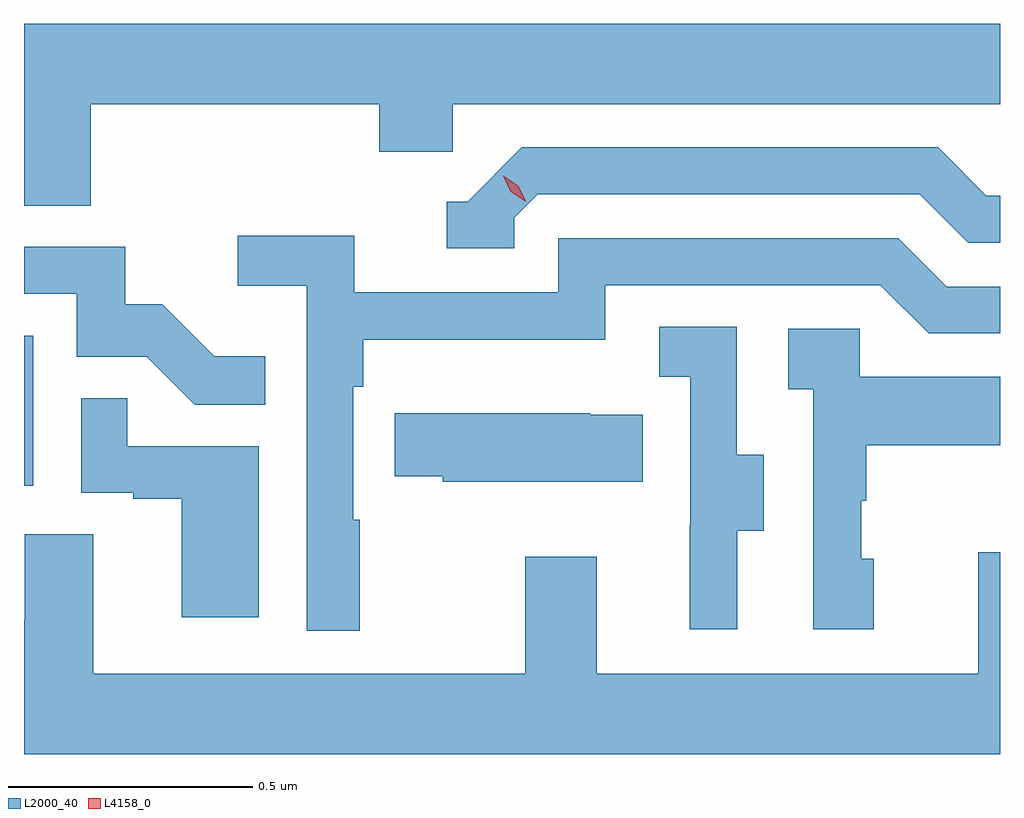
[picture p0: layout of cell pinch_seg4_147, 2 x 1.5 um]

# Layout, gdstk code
import gdstk
lib = gdstk.Library(unit=1e-6, precision=1e-09)
def R(c, l, rs):  # rectangles x0, y0, x1, y1
    for r in rs: c.add(gdstk.rectangle(r[:2], r[2:], *l))
def P(c, l, *ps):  # polygons
    for p in ps: c.add(gdstk.Polygon(p, *l))
L2000_40 = (2000, 40)
L4158_0 = (4158, 0)

pinch_seg4_147 = lib.new_cell('pinch_seg4_147')
R(pinch_seg4_147, L2000_40, [(1112.739,809.358,1112.758,809.665)])
P(pinch_seg4_147, L2000_40, [(1112.876,810.14),(1113.467,810.14),(1113.467,810.042),(1113.618,810.042),(1113.618,810.14),(1114.739,810.14),(1114.739,810.304),(1112.739,810.304),(1112.739,809.932),(1112.876,809.932)],
  [(1113.744,809.907),(1113.792,809.955),(1114.575,809.955),(1114.674,809.856),(1114.739,809.856),(1114.739,809.952),(1114.711,809.952),(1114.612,810.051),(1113.759,810.051),(1113.648,809.94),(1113.605,809.94),(1113.605,809.844),(1113.744,809.844)],
  [(1113.427,809.288),(1113.414,809.288),(1113.414,809.561),(1113.434,809.561),(1113.434,809.657),(1113.93,809.657),(1113.93,809.769),(1114.494,809.769),(1114.593,809.67),(1114.739,809.67),(1114.739,809.766),(1114.63,809.766),(1114.531,809.865),(1113.834,809.865),(1113.834,809.754),(1113.416,809.754),(1113.416,809.87),(1113.177,809.87),(1113.177,809.768),(1113.318,809.768),(1113.318,809.061),(1113.427,809.061)],
  [(1113.233,809.623),(1113.129,809.623),(1113.022,809.73),(1112.946,809.73),(1112.946,809.847),(1112.739,809.847),(1112.739,809.751),(1112.847,809.751),(1112.847,809.622),(1112.991,809.622),(1113.089,809.524),(1113.233,809.524)],
  [(1114.201,809.266),(1114.255,809.266),(1114.255,809.421),(1114.2,809.421),(1114.2,809.684),(1114.041,809.684),(1114.041,809.581),(1114.104,809.581),(1114.104,809.277),(1114.103,809.277),(1114.103,809.064),(1114.201,809.064)],
  [(1114.48,809.208),(1114.455,809.208),(1114.455,809.327),(1114.465,809.327),(1114.465,809.441),(1114.739,809.441),(1114.739,809.581),(1114.452,809.581),(1114.452,809.679),(1114.305,809.679),(1114.305,809.555),(1114.356,809.555),(1114.356,809.064),(1114.48,809.064)],
  [(1113.22,809.439),(1112.951,809.439),(1112.951,809.537),(1112.856,809.537),(1112.856,809.343),(1112.963,809.343),(1112.963,809.331),(1113.062,809.331),(1113.062,809.088),(1113.22,809.088)],
  [(1114.007,809.503),(1113.899,809.503),(1113.899,809.506),(1113.499,809.506),(1113.499,809.377),(1113.597,809.377),(1113.597,809.366),(1114.007,809.366)],
  [(1112.741,809.258),(1112.741,809.084),(1112.739,809.084),(1112.739,808.808),(1114.739,808.808),(1114.739,809.221),(1114.694,809.221),(1114.694,808.972),(1113.913,808.972),(1113.913,809.212),(1113.766,809.212),(1113.766,808.972),(1112.881,808.972),(1112.881,809.258)])
P(pinch_seg4_147, L4158_0, [(1113.767,809.94),(1113.736,809.96),(1113.721,809.993),(1113.721,809.993),(1113.721,809.993),(1113.752,809.973),(1113.767,809.941),(1113.767,809.94)])

lib.write_gds('pinch_seg4_147.gds')
